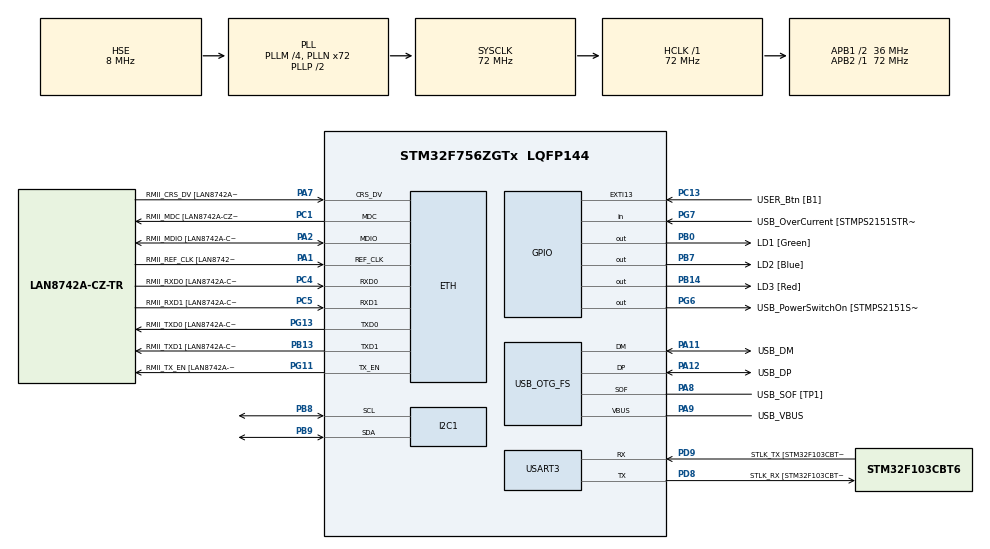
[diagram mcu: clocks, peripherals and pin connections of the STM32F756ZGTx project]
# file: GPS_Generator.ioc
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ETH.MediaInterface=HAL_ETH_RMII_MODE
ETH.PHY_Name=LAN8742A_PHY_ADDRESS
ETH.PHY_Value=0
ETH.PhyAddress=0
FREERTOS.Queues01=msgQueue,50,28,1,Dynamic,NULL,NULL
FREERTOS.Tasks01=defaultTask,24,256,StartGPSGenTask,Default,NULL,Dynamic,NULL,NULL;myTask02,8,256,blinking_led,Default,NULL,Dynamic,NULL,NULL;myTask03,8,256,get_from_queue,Default,NULL,Dynamic,NULL,NULL
I2C1.OwnAddress=0x10
I2C1.Timing=0x00808CD2
Mcu.Family=STM32F7
Mcu.Name=STM32F756ZGTx
Mcu.Package=LQFP144
NVIC.I2C1_ER_IRQn=true\:5\:0\:true\:false\:true\:true\:true\:true\:true
NVIC.I2C1_EV_IRQn=true\:5\:0\:true\:false\:true\:true\:true\:true\:true
NVIC.PriorityGroup=NVIC_PRIORITYGROUP_4
PA1.GPIO_Label=RMII_REF_CLK [LAN8742A-CZ-TR_REFCLK0]
PA1.Mode=RMII
PA1.Signal=ETH_REF_CLK
PA10.GPIO_Label=USB_ID
PA10.Signal=USB_OTG_FS_ID
PA11.GPIO_Label=USB_DM
PA11.Mode=Device_Only
PA11.Signal=USB_OTG_FS_DM
PA12.GPIO_Label=USB_DP
PA12.Mode=Device_Only
PA12.Signal=USB_OTG_FS_DP
PA13.GPIO_Label=TMS
PA13.Mode=Serial_Wire
PA13.Signal=SYS_JTMS-SWDIO
PA14.GPIO_Label=TCK
PA14.Mode=Serial_Wire
PA14.Signal=SYS_JTCK-SWCLK
PA2.GPIO_Label=RMII_MDIO [LAN8742A-CZ-TR_MDIO]
PA2.Mode=RMII
PA2.Signal=ETH_MDIO
PA7.GPIO_Label=RMII_CRS_DV [LAN8742A-CZ-TR_CRS_DV]
PA7.Mode=RMII
PA7.Signal=ETH_CRS_DV
PA8.GPIO_Label=USB_SOF [TP1]
PA8.Mode=Activate_SOF_FS
PA8.Signal=USB_OTG_FS_SOF
PA9.GPIO_Label=USB_VBUS
PA9.Mode=Activate_VBUS
PA9.Signal=USB_OTG_FS_VBUS
PB0.GPIO_Label=LD1 [Green]
PB0.Signal=GPIO_Output
PB13.GPIO_Label=RMII_TXD1 [LAN8742A-CZ-TR_TXD1]
PB13.Mode=RMII
PB13.Signal=ETH_TXD1
PB14.GPIO_Label=LD3 [Red]
PB14.Signal=GPIO_Output
PB3.GPIO_Label=SW0
PB3.Signal=SYS_JTDO-SWO
PB7.GPIO_Label=LD2 [Blue]
PB7.Signal=GPIO_Output
PB8.GPIO_Pu=GPIO_PULLUP
PB8.Mode=I2C
PB8.Signal=I2C1_SCL
PB9.GPIO_Pu=GPIO_PULLUP
PB9.Mode=I2C
PB9.Signal=I2C1_SDA
PC1.GPIO_Label=RMII_MDC [LAN8742A-CZ-TR_MDC]
PC1.Mode=RMII
PC1.Signal=ETH_MDC
PC13.GPIO_Label=USER_Btn [B1]
PC13.Signal=GPXTI13
PC14/OSC32_IN.Mode=LSE-External-Oscillator
PC14/OSC32_IN.Signal=RCC_OSC32_IN
PC15/OSC32_OUT.Mode=LSE-External-Oscillator
PC15/OSC32_OUT.Signal=RCC_OSC32_OUT
PC4.GPIO_Label=RMII_RXD0 [LAN8742A-CZ-TR_RXD0]
PC4.Mode=RMII
PC4.Signal=ETH_RXD0
PC5.GPIO_Label=RMII_RXD1 [LAN8742A-CZ-TR_RXD1]
PC5.Mode=RMII
PC5.Signal=ETH_RXD1
PD8.GPIO_Label=STLK_RX [STM32F103CBT6_PA3]
PD8.Mode=Asynchronous
PD8.Signal=USART3_TX
PD9.GPIO_Label=STLK_TX [STM32F103CBT6_PA2]
PD9.Mode=Asynchronous
PD9.Signal=USART3_RX
PG11.GPIO_Label=RMII_TX_EN [LAN8742A-CZ-TR_TXEN]
PG11.Mode=RMII
PG11.Signal=ETH_TX_EN
PG13.GPIO_Label=RMII_TXD0 [LAN8742A-CZ-TR_TXD0]
PG13.Mode=RMII
PG13.Signal=ETH_TXD0
PG6.GPIO_Label=USB_PowerSwitchOn [STMPS2151STR_EN]
PG6.Signal=GPIO_Output
PG7.GPIO_Label=USB_OverCurrent [STMPS2151STR_FAULT]
PG7.Signal=GPIO_Input
PH0/OSC_IN.GPIO_Label=MCO [STM32F103CBT6_PA8]
PH0/OSC_IN.Mode=HSE-External-Clock-Source
PH0/OSC_IN.Signal=RCC_OSC_IN
PH1/OSC_OUT.Mode=HSE-External-Clock-Source
PH1/OSC_OUT.Signal=RCC_OSC_OUT
ProjectManager.HeapSize=0x200
ProjectManager.StackSize=0x400
ProjectManager.TargetToolchain=STM32CubeIDE
RCC.48MHZClocksFreq_Value=24000000
RCC.AHBFreq_Value=72000000
RCC.APB1CLKDivider=RCC_HCLK_DIV2
RCC.APB1Freq_Value=36000000
RCC.APB1TimFreq_Value=72000000
RCC.APB2Freq_Value=72000000
RCC.APB2TimFreq_Value=72000000
RCC.CortexFreq_Value=72000000
RCC.HCLKFreq_Value=72000000
RCC.HSE_VALUE=8000000
RCC.HSI_VALUE=16000000
RCC.PLLM=4
RCC.PLLMUL=RCC_PLL_MUL9
RCC.PLLN=72
RCC.PLLQ=3
RCC.PRESCALERUSB=RCC_USBCLKSOURCE_PLL_DIV1_5
RCC.SYSCLKFreq_VALUE=72000000
RCC.SYSCLKSource=RCC_SYSCLKSOURCE_PLLCLK
RCC.SYSCLKSourceVirtual=RCC_SYSCLKSOURCE_PLLCLK
RCC.USBFreq_Value=48000000
RCC.VCOOutputFreq_Value=144000000
USART3.VirtualMode-Asynchronous=VM_ASYNC
USB_OTG_FS.VirtualMode=Device_Only
VP_FREERTOS_VS_CMSIS_V2.Mode=CMSIS_V2
board=NUCLEO-F756ZG

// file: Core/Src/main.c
/* USER CODE BEGIN Header */
/**
  ******************************************************************************
  * @file           : main.c
  * @brief          : Main program body
  ******************************************************************************
  * @attention
  *
  * Copyright (c) 2025 STMicroelectronics.
  * All rights reserved.
  *
  * This software is licensed under terms that can be found in the LICENSE file
  * in the root directory of this software component.
  * If no LICENSE file comes with this software, it is provided AS-IS.
  *
  ******************************************************************************
  */
/* USER CODE END Header */
#include "main.h"
#include "string.h"
#include "cmsis_os.h"

/* USER CODE BEGIN Includes */
#include <stdlib.h>   // for rand() and RAND_MAX
#include "park_msg_protocol.h"

/* USER CODE END Includes */

#if defined ( __ICCARM__ ) /*!< IAR Compiler */
#pragma location=0x2004c000
ETH_DMADescTypeDef  DMARxDscrTab[ETH_RX_DESC_CNT]; /* Ethernet Rx DMA Descriptors */
#pragma location=0x2004c0a0
ETH_DMADescTypeDef  DMATxDscrTab[ETH_TX_DESC_CNT]; /* Ethernet Tx DMA Descriptors */

#elif defined ( __CC_ARM )  /* MDK ARM Compiler */

__attribute__((at(0x2004c000))) ETH_DMADescTypeDef  DMARxDscrTab[ETH_RX_DESC_CNT]; /* Ethernet Rx DMA Descriptors */
__attribute__((at(0x2004c0a0))) ETH_DMADescTypeDef  DMATxDscrTab[ETH_TX_DESC_CNT]; /* Ethernet Tx DMA Descriptors */

#elif defined ( __GNUC__ ) /* GNU Compiler */

ETH_DMADescTypeDef DMARxDscrTab[ETH_RX_DESC_CNT] __attribute__((section(".RxDecripSection"))); /* Ethernet Rx DMA Descriptors */
ETH_DMADescTypeDef DMATxDscrTab[ETH_TX_DESC_CNT] __attribute__((section(".TxDecripSection")));   /* Ethernet Tx DMA Descriptors */
#endif

ETH_TxPacketConfig TxConfig;

ETH_HandleTypeDef heth;

I2C_HandleTypeDef hi2c1;

UART_HandleTypeDef huart3;

PCD_HandleTypeDef hpcd_USB_OTG_FS;

/* Definitions for defaultTask */
osThreadId_t defaultTaskHandle;
const osThreadAttr_t defaultTask_attributes = {
  .name = "defaultTask",
  .stack_size = 256 * 4,
  .priority = (osPriority_t) osPriorityNormal,
};
/* Definitions for myTask02 */
osThreadId_t myTask02Handle;
const osThreadAttr_t myTask02_attributes = {
  .name = "myTask02",
  .stack_size = 256 * 4,
  .priority = (osPriority_t) osPriorityLow,
};
/* Definitions for myTask03 */
osThreadId_t myTask03Handle;
const osThreadAttr_t myTask03_attributes = {
  .name = "myTask03",
  .stack_size = 256 * 4,
  .priority = (osPriority_t) osPriorityLow,
};
/* Definitions for msgQueue */
osMessageQueueId_t msgQueueHandle;
const osMessageQueueAttr_t msgQueue_attributes = {
  .name = "msgQueue"
};
/* USER CODE BEGIN PV */
static parking_message_t tx_msg;
static volatile uint8_t tx_ready = 0;
/* USER CODE END PV */

void SystemClock_Config(void);
static void MX_GPIO_Init(void);
static void MX_ETH_Init(void);
static void MX_USART3_UART_Init(void);
static void MX_USB_OTG_FS_PCD_Init(void);
static void MX_I2C1_Init(void);
void StartGPSGenTask(void *argument);
void blinking_led(void *argument);
void get_from_queue(void *argument);

int main(void)
{

  /* MCU Configuration--------------------------------------------------------*/

  /* Reset of all peripherals, Initializes the Flash interface and the Systick. */
  HAL_Init();

  /* Configure the system clock */
  SystemClock_Config();

  /* Initialize all configured peripherals */
  MX_GPIO_Init();
  MX_ETH_Init();
  MX_USART3_UART_Init();
  MX_USB_OTG_FS_PCD_Init();
  MX_I2C1_Init();
  /* USER CODE BEGIN 2 */
  srand(HAL_GetTick()); // Seed the random generator

  if (HAL_I2C_EnableListen_IT(&hi2c1) != HAL_OK) {
      // If this triggers, your I2C peripheral failed to start listening
      HAL_GPIO_WritePin(GPIOB, LD3_Pin, GPIO_PIN_SET); // Turn on Red LED
      Error_Handler();
  }
  /* USER CODE END 2 */

  /* Init scheduler */
  osKernelInitialize();

  /* Create the queue(s) */
  /* creation of msgQueue */
  msgQueueHandle = osMessageQueueNew (50, 28, &msgQueue_attributes);

  /* Create the thread(s) */
  /* creation of defaultTask */
  defaultTaskHandle = osThreadNew(StartGPSGenTask, NULL, &defaultTask_attributes);

  /* creation of myTask02 */
  myTask02Handle = osThreadNew(blinking_led, NULL, &myTask02_attributes);

  /* creation of myTask03 */
  myTask03Handle = osThreadNew(get_from_queue, NULL, &myTask03_attributes);

  /* Start scheduler */
  osKernelStart();

  /* We should never get here as control is now taken by the scheduler */

  /* Infinite loop */
  while (1)
  {

  }
}

void SystemClock_Config(void)
{
  RCC_OscInitTypeDef RCC_OscInitStruct = {0};
  RCC_ClkInitTypeDef RCC_ClkInitStruct = {0};

  /** Configure LSE Drive Capability
  */
  HAL_PWR_EnableBkUpAccess();

  /** Configure the main internal regulator output voltage
  */
  __HAL_RCC_PWR_CLK_ENABLE();
  __HAL_PWR_VOLTAGESCALING_CONFIG(PWR_REGULATOR_VOLTAGE_SCALE3);

  /** Initializes the RCC Oscillators according to the specified parameters
  * in the RCC_OscInitTypeDef structure.
  */
  RCC_OscInitStruct.OscillatorType = RCC_OSCILLATORTYPE_HSE;
  RCC_OscInitStruct.HSEState = RCC_HSE_BYPASS;
  RCC_OscInitStruct.PLL.PLLState = RCC_PLL_ON;
  RCC_OscInitStruct.PLL.PLLSource = RCC_PLLSOURCE_HSE;
  RCC_OscInitStruct.PLL.PLLM = 4;
  RCC_OscInitStruct.PLL.PLLN = 72;
  RCC_OscInitStruct.PLL.PLLP = RCC_PLLP_DIV2;
  RCC_OscInitStruct.PLL.PLLQ = 3;
  if (HAL_RCC_OscConfig(&RCC_OscInitStruct) != HAL_OK)
  {
    Error_Handler();
  }

  /** Initializes the CPU, AHB and APB buses clocks
  */
  RCC_ClkInitStruct.ClockType = RCC_CLOCKTYPE_HCLK|RCC_CLOCKTYPE_SYSCLK
                              |RCC_CLOCKTYPE_PCLK1|RCC_CLOCKTYPE_PCLK2;
  RCC_ClkInitStruct.SYSCLKSource = RCC_SYSCLKSOURCE_PLLCLK;
  RCC_ClkInitStruct.AHBCLKDivider = RCC_SYSCLK_DIV1;
  RCC_ClkInitStruct.APB1CLKDivider = RCC_HCLK_DIV2;
  RCC_ClkInitStruct.APB2CLKDivider = RCC_HCLK_DIV1;

  if (HAL_RCC_ClockConfig(&RCC_ClkInitStruct, FLASH_LATENCY_2) != HAL_OK)
  {
    Error_Handler();
  }
}

static void MX_ETH_Init(void)
{

   static uint8_t MACAddr[6];

  heth.Instance = ETH;
  MACAddr[0] = 0x00;
  MACAddr[1] = 0x80;
  MACAddr[2] = 0xE1;
  MACAddr[3] = 0x00;
  MACAddr[4] = 0x00;
  MACAddr[5] = 0x00;
  heth.Init.MACAddr = &MACAddr[0];
  heth.Init.MediaInterface = HAL_ETH_RMII_MODE;
  heth.Init.TxDesc = DMATxDscrTab;
  heth.Init.RxDesc = DMARxDscrTab;
  heth.Init.RxBuffLen = 1524;

  if (HAL_ETH_Init(&heth) != HAL_OK)
  {
    Error_Handler();
  }

  memset(&TxConfig, 0 , sizeof(ETH_TxPacketConfig));
  TxConfig.Attributes = ETH_TX_PACKETS_FEATURES_CSUM | ETH_TX_PACKETS_FEATURES_CRCPAD;
  TxConfig.ChecksumCtrl = ETH_CHECKSUM_IPHDR_PAYLOAD_INSERT_PHDR_CALC;
  TxConfig.CRCPadCtrl = ETH_CRC_PAD_INSERT;

}

static void MX_I2C1_Init(void)
{

  hi2c1.Instance = I2C1;
  hi2c1.Init.Timing = 0x00808CD2;
  hi2c1.Init.OwnAddress1 = 32;
  hi2c1.Init.AddressingMode = I2C_ADDRESSINGMODE_7BIT;
  hi2c1.Init.DualAddressMode = I2C_DUALADDRESS_DISABLE;
  hi2c1.Init.OwnAddress2 = 0;
  hi2c1.Init.OwnAddress2Masks = I2C_OA2_NOMASK;
  hi2c1.Init.GeneralCallMode = I2C_GENERALCALL_DISABLE;
  hi2c1.Init.NoStretchMode = I2C_NOSTRETCH_DISABLE;
  if (HAL_I2C_Init(&hi2c1) != HAL_OK)
  {
    Error_Handler();
  }

  /** Configure Analogue filter
  */
  if (HAL_I2CEx_ConfigAnalogFilter(&hi2c1, I2C_ANALOGFILTER_ENABLE) != HAL_OK)
  {
    Error_Handler();
  }

  /** Configure Digital filter
  */
  if (HAL_I2CEx_ConfigDigitalFilter(&hi2c1, 0) != HAL_OK)
  {
    Error_Handler();
  }

}

static void MX_USART3_UART_Init(void)
{

  huart3.Instance = USART3;
  huart3.Init.BaudRate = 115200;
  huart3.Init.WordLength = UART_WORDLENGTH_8B;
  huart3.Init.StopBits = UART_STOPBITS_1;
  huart3.Init.Parity = UART_PARITY_NONE;
  huart3.Init.Mode = UART_MODE_TX_RX;
  huart3.Init.HwFlowCtl = UART_HWCONTROL_NONE;
  huart3.Init.OverSampling = UART_OVERSAMPLING_16;
  huart3.Init.OneBitSampling = UART_ONE_BIT_SAMPLE_DISABLE;
  huart3.AdvancedInit.AdvFeatureInit = UART_ADVFEATURE_NO_INIT;
  if (HAL_UART_Init(&huart3) != HAL_OK)
  {
    Error_Handler();
  }

}

static void MX_USB_OTG_FS_PCD_Init(void)
{

  hpcd_USB_OTG_FS.Instance = USB_OTG_FS;
  hpcd_USB_OTG_FS.Init.dev_endpoints = 6;
  hpcd_USB_OTG_FS.Init.speed = PCD_SPEED_FULL;
  hpcd_USB_OTG_FS.Init.dma_enable = DISABLE;
  hpcd_USB_OTG_FS.Init.phy_itface = PCD_PHY_EMBEDDED;
  hpcd_USB_OTG_FS.Init.Sof_enable = ENABLE;
  hpcd_USB_OTG_FS.Init.low_power_enable = DISABLE;
  hpcd_USB_OTG_FS.Init.lpm_enable = DISABLE;
  hpcd_USB_OTG_FS.Init.vbus_sensing_enable = ENABLE;
  hpcd_USB_OTG_FS.Init.use_dedicated_ep1 = DISABLE;
  if (HAL_PCD_Init(&hpcd_USB_OTG_FS) != HAL_OK)
  {
    Error_Handler();
  }

}

static void MX_GPIO_Init(void)
{
  GPIO_InitTypeDef GPIO_InitStruct = {0};

  /* GPIO Ports Clock Enable */
  __HAL_RCC_GPIOC_CLK_ENABLE();
  __HAL_RCC_GPIOH_CLK_ENABLE();
  __HAL_RCC_GPIOA_CLK_ENABLE();
  __HAL_RCC_GPIOB_CLK_ENABLE();
  __HAL_RCC_GPIOD_CLK_ENABLE();
  __HAL_RCC_GPIOG_CLK_ENABLE();

  /*Configure GPIO pin Output Level */
  HAL_GPIO_WritePin(GPIOB, LD1_Pin|LD3_Pin|LD2_Pin, GPIO_PIN_RESET);

  /*Configure GPIO pin Output Level */
  HAL_GPIO_WritePin(USB_PowerSwitchOn_GPIO_Port, USB_PowerSwitchOn_Pin, GPIO_PIN_RESET);

  /*Configure GPIO pin : USER_Btn_Pin */
  GPIO_InitStruct.Pin = USER_Btn_Pin;
  GPIO_InitStruct.Mode = GPIO_MODE_IT_RISING;
  GPIO_InitStruct.Pull = GPIO_NOPULL;
  HAL_GPIO_Init(USER_Btn_GPIO_Port, &GPIO_InitStruct);

  /*Configure GPIO pins : LD1_Pin LD3_Pin LD2_Pin */
  GPIO_InitStruct.Pin = LD1_Pin|LD3_Pin|LD2_Pin;
  GPIO_InitStruct.Mode = GPIO_MODE_OUTPUT_PP;
  GPIO_InitStruct.Pull = GPIO_NOPULL;
  GPIO_InitStruct.Speed = GPIO_SPEED_FREQ_LOW;
  HAL_GPIO_Init(GPIOB, &GPIO_InitStruct);

  /*Configure GPIO pin : USB_PowerSwitchOn_Pin */
  GPIO_InitStruct.Pin = USB_PowerSwitchOn_Pin;
  GPIO_InitStruct.Mode = GPIO_MODE_OUTPUT_PP;
  GPIO_InitStruct.Pull = GPIO_NOPULL;
  GPIO_InitStruct.Speed = GPIO_SPEED_FREQ_LOW;
  HAL_GPIO_Init(USB_PowerSwitchOn_GPIO_Port, &GPIO_InitStruct);

  /*Configure GPIO pin : USB_OverCurrent_Pin */
  GPIO_InitStruct.Pin = USB_OverCurrent_Pin;
  GPIO_InitStruct.Mode = GPIO_MODE_INPUT;
  GPIO_InitStruct.Pull = GPIO_NOPULL;
  HAL_GPIO_Init(USB_OverCurrent_GPIO_Port, &GPIO_InitStruct);

}

/* USER CODE BEGIN 4 */
void HAL_I2C_SlaveTxCpltCallback(I2C_HandleTypeDef *hi2c)
{
//	printf("msg transmit complete\r\n");
	tx_ready = 0;
    HAL_I2C_EnableListen_IT(hi2c);
}

void HAL_I2C_ErrorCallback(I2C_HandleTypeDef *hi2c)
{
    HAL_I2C_EnableListen_IT(hi2c);
}
void HAL_I2C_ListenCpltCallback(I2C_HandleTypeDef *hi2c)
{
	HAL_I2C_EnableListen_IT(hi2c);
}

void HAL_I2C_AddrCallback(I2C_HandleTypeDef *hi2c, uint8_t TransferDirection, uint16_t AddrMatchCode)
{
    if (TransferDirection == I2C_DIRECTION_RECEIVE) // Master wants to READ
    {
     	HAL_I2C_Slave_Seq_Transmit_IT(hi2c, (uint8_t*)&tx_msg, sizeof(tx_msg), I2C_LAST_FRAME);
    }
}

int __io_putchar(int ch)
{
    HAL_UART_Transmit(&huart3, (uint8_t*)&ch, 1, HAL_MAX_DELAY);
    return ch;
}

void CarTask(void *argument) {

    parking_message_t msg;
    // Copy the initial message data (ID, etc) from the argument
    memcpy(&msg, (parking_message_t*)argument, sizeof(parking_message_t));
    free(argument); // Free the memory we allocated to pass the ID

	msg.lat = ((float)rand() / (float)RAND_MAX) * 100.0f;
	msg.lon = ((float)rand() / (float)RAND_MAX) * 100.0f;

	msg.is_parking = PARK_START;
	msg.time = 0;

	// Send START message
	if (osMessageQueuePut(msgQueueHandle, &msg, 0, 10) != osOK){
		printf("Failed to add msg to queue\r\n");
	}
	osDelay(10000 + (rand() % 20000)); // Parks for 10-30 seconds
	msg.is_parking = PARK_END;

	// Send END message
	if (osMessageQueuePut(msgQueueHandle, &msg, 0, 10) != osOK){
		printf("Failed to add msg to queue\r\n");
	}

	osThreadTerminate(osThreadGetId()); // Kill this task when done

}
/* USER CODE END 4 */

void StartGPSGenTask(void *argument)
{
  /* USER CODE BEGIN 5 */
//	printf("GPS generator starts\r\n");
  /* Infinite loop */
  for(;;)
  {
	  // Create a new car structure on the heap to pass to the thread
	  parking_message_t *new_car = malloc(sizeof(parking_message_t));
	  memset(new_car, 0, sizeof(parking_message_t));

	  int random_num = rand() % 1000;
	  snprintf(new_car->vehicle_id, sizeof(new_car->vehicle_id), "CAR%03d", random_num);

	  // Spawn a new task for THIS specific car
	  osThreadAttr_t attr = {0};
	  attr.name = "CarThread";
	  attr.stack_size = 256 * 4;
	  attr.priority = osPriorityLow;

	  osThreadNew(CarTask, new_car, &attr);

	  // Wait a bit before spawning the NEXT new car
	  osDelay(5000);
  }
  /* USER CODE END 5 */
}

void blinking_led(void *argument)
{
  /* USER CODE BEGIN blinking_led */
  /* Infinite loop */
  for(;;)
  {
	HAL_GPIO_TogglePin(GPIOB, GPIO_PIN_7);
	osDelay(1000);
  }
  /* USER CODE END blinking_led */
}

void get_from_queue(void *argument)
{
  /* USER CODE BEGIN get_from_queue */
	// Set initial "No Data" state
	memset(&tx_msg, 0, sizeof(tx_msg));
	tx_msg.is_parking = -1;
  /* Infinite loop */
  for(;;)
  {
	if (!tx_ready || tx_msg.is_parking == -1) {
		if (osMessageQueueGet(msgQueueHandle, &tx_msg, NULL, 0) != osOK) {
			memset(&tx_msg, 0, sizeof(tx_msg));
			tx_msg.is_parking = -1;
		}
		tx_ready = 1;
	}
	osDelay(100); // Give 100ms to other tasks and the system
  /* USER CODE END get_from_queue */
  }
}

void Error_Handler(void)
{
  __disable_irq();
  while (1)
  {
  }
}
